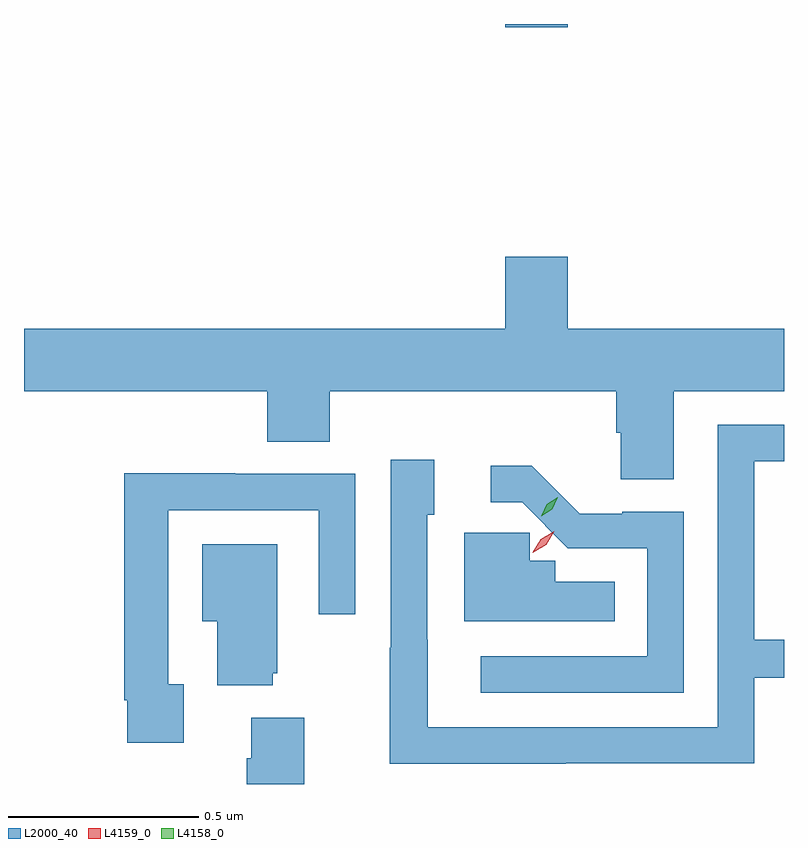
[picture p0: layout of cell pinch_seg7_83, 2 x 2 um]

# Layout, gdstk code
import gdstk
lib = gdstk.Library(unit=1e-6, precision=1e-09)
def R(c, l, rs):  # rectangles x0, y0, x1, y1
    for r in rs: c.add(gdstk.rectangle(r[:2], r[2:], *l))
def P(c, l, *ps):  # polygons
    for p in ps: c.add(gdstk.Polygon(p, *l))
L2000_40 = (2000, 40)
L4158_0 = (4158, 0)
L4159_0 = (4159, 0)

pinch_seg7_83 = lib.new_cell('pinch_seg7_83')
R(pinch_seg7_83, L2000_40, [(920.252,1041.534,920.416,1041.542)])
P(pinch_seg7_83, L2000_40, [(920.695,1040.576),(920.985,1040.576),(920.985,1040.74),(920.416,1040.74),(920.416,1040.929),(920.252,1040.929),(920.252,1040.74),(918.985,1040.74),(918.985,1040.576),(919.625,1040.576),(919.625,1040.443),(919.79,1040.443),(919.79,1040.576),(920.543,1040.576),(920.543,1040.466),(920.555,1040.466),(920.555,1040.344),(920.695,1040.344)],
  [(920.411,1039.596),(920.907,1039.596),(920.907,1039.821),(920.985,1039.821),(920.985,1039.922),(920.907,1039.922),(920.907,1040.391),(920.985,1040.391),(920.985,1040.487),(920.811,1040.487),(920.811,1039.692),(920.047,1039.692),(920.047,1039.922),(920.046,1039.922),(920.046,1040.25),(920.065,1040.25),(920.065,1040.395),(919.95,1040.395),(919.95,1039.901),(919.948,1039.901),(919.948,1039.595),(920.411,1039.595)],
  [(920.721,1040.259),(920.559,1040.259),(920.559,1040.253),(920.447,1040.253),(920.321,1040.38),(920.213,1040.38),(920.213,1040.283),(920.296,1040.283),(920.416,1040.163),(920.625,1040.163),(920.625,1039.878),(920.187,1039.878),(920.187,1039.782),(920.721,1039.782)],
  [(919.405,1039.805),(919.365,1039.805),(919.365,1040.262),(919.761,1040.262),(919.761,1039.989),(919.857,1039.989),(919.857,1040.358),(919.541,1040.358),(919.541,1040.36),(919.249,1040.36),(919.249,1039.762),(919.257,1039.762),(919.257,1039.65),(919.405,1039.65)],
  [(920.54,1040.074),(920.383,1040.074),(920.383,1040.129),(920.316,1040.129),(920.316,1040.203),(920.144,1040.203),(920.144,1039.97),(920.54,1039.97)],
  [(919.64,1039.833),(919.651,1039.833),(919.651,1040.173),(919.454,1040.173),(919.454,1039.97),(919.493,1039.97),(919.493,1039.802),(919.64,1039.802)],
  [(919.723,1039.717),(919.583,1039.717),(919.583,1039.61),(919.571,1039.61),(919.571,1039.542),(919.723,1039.542)])
P(pinch_seg7_83, L4158_0, [(920.346,1040.247),(920.346,1040.247),(920.36,1040.278),(920.389,1040.297),(920.389,1040.297),(920.389,1040.296),(920.375,1040.265),(920.346,1040.247)])
P(pinch_seg7_83, L4159_0, [(920.324,1040.151),(920.324,1040.152),(920.345,1040.186),(920.38,1040.207),(920.381,1040.207),(920.381,1040.207),(920.359,1040.172),(920.324,1040.151)])

lib.write_gds('pinch_seg7_83.gds')
